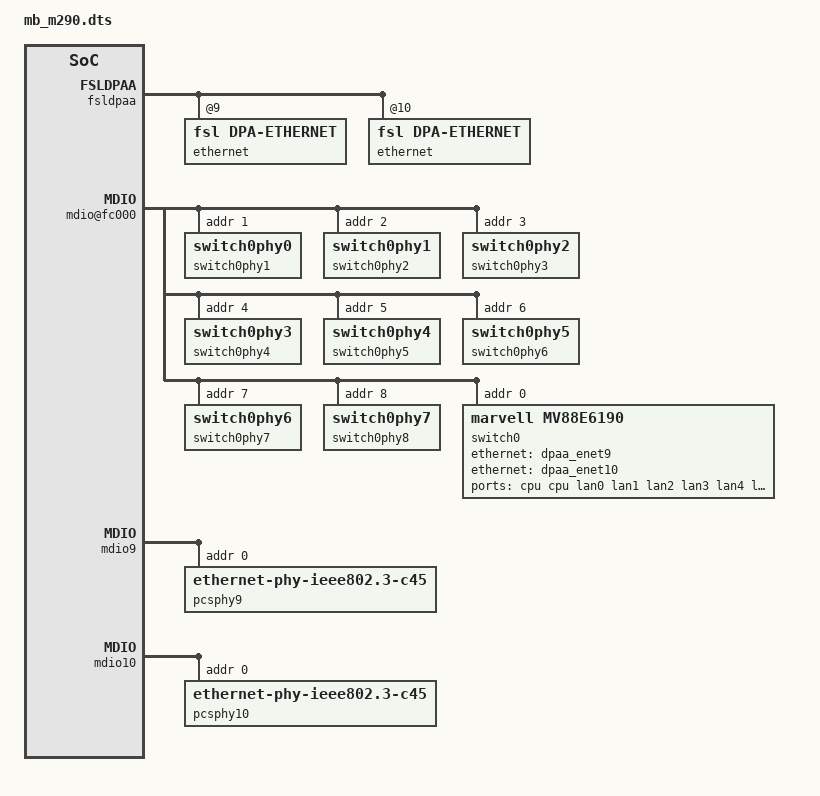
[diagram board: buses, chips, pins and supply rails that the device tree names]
/*
 * Device Tree Include file for Freescale Layerscape-1046A family SoC.
 *
 * Copyright 2014-2015 Freescale Semiconductor, Inc.
 *
 * Mingkai Hu <Mingkai.hu@freescale.com>
 *
 * This file is dual-licensed: you can use it either under the terms
 * of the GPLv2 or the X11 license, at your option. Note that this dual
 * licensing only applies to this file, and not this project as a
 * whole.
 *
 *  a) This library is free software; you can redistribute it and/or
 *     modify it under the terms of the GNU General Public License as
 *     published by the Free Software Foundation; either version 2 of the
 *     License, or (at your option) any later version.
 *
 *     This library is distributed in the hope that it will be useful,
 *     but WITHOUT ANY WARRANTY; without even the implied warranty of
 *     MERCHANTABILITY or FITNESS FOR A PARTICULAR PURPOSE.  See the
 *     GNU General Public License for more details.
 *
 * Or, alternatively,
 *
 *  b) Permission is hereby granted, free of charge, to any person
 *     obtaining a copy of this software and associated documentation
 *     files (the "Software"), to deal in the Software without
 *     restriction, including without limitation the rights to use,
 *     copy, modify, merge, publish, distribute, sublicense, and/or
 *     sell copies of the Software, and to permit persons to whom the
 *     Software is furnished to do so, subject to the following
 *     conditions:
 *
 *     The above copyright notice and this permission notice shall be
 *     included in all copies or substantial portions of the Software.
 *
 *     THE SOFTWARE IS PROVIDED "AS IS", WITHOUT WARRANTY OF ANY KIND,
 *     EXPRESS OR IMPLIED, INCLUDING BUT NOT LIMITED TO THE WARRANTIES
 *     OF MERCHANTABILITY, FITNESS FOR A PARTICULAR PURPOSE AND
 *     NONINFRINGEMENT. IN NO EVENT SHALL THE AUTHORS OR COPYRIGHT
 *     HOLDERS BE LIABLE FOR ANY CLAIM, DAMAGES OR OTHER LIABILITY,
 *     WHETHER IN AN ACTION OF CONTRACT, TORT OR OTHERWISE, ARISING
 *     FROM, OUT OF OR IN CONNECTION WITH THE SOFTWARE OR THE USE OR
 *     OTHER DEALINGS IN THE SOFTWARE.
 */

#include "fsl-ls1046a-rdb_m290.dts"
#include "qoriq-qman-portals-sdk.dtsi"
#include "qoriq-bman-portals-sdk.dtsi"

&bman_fbpr {
	compatible = "fsl,bman-fbpr";
	alloc-ranges = <0 0 0x10000 0>;
};
&qman_fqd {
	compatible = "fsl,qman-fqd";
	alloc-ranges = <0 0 0x10000 0>;
};
&qman_pfdr {
	compatible = "fsl,qman-pfdr";
	alloc-ranges = <0 0 0x10000 0>;
};

&soc {
#include "qoriq-dpaa-eth_m290.dtsi"
#include "qoriq-fman3-0-6oh.dtsi"
};

&fsldpaa {
	ethernet@0 {
		status = "disabled";
	};
	ethernet@1 {
		status = "disabled";
	};
	ethernet@2 {
		status = "disabled";
	};
	ethernet@3 {
		status = "disabled";
	};
	ethernet@4 {
		status = "disabled";
	};
	ethernet@5 {
		status = "disabled";
	};
	ethernet@6 {
		status = "disabled";
	};
	ethernet@7 {
		status = "disabled";
	};
	ethernet@9 {
		compatible = "fsl,dpa-ethernet";
		fsl,fman-mac = <&enet9>;
		dma-coherent;
	};
	ethernet@10 {
		compatible = "fsl,dpa-ethernet";
		fsl,fman-mac = <&enet10>;
		dma-coherent;
	};
};

&fman0 {
	compatible = "fsl,fman", "simple-bus";
	mdio@fc000 {
		switch0phy1: switch0phy0@1 {
			reg = <0x1>;
		};
		switch0phy2: switch0phy1@2 {
			reg = <0x2>;
		};
		switch0phy3: switch0phy2@3 {
			reg = <0x3>;
		};
		switch0phy4: switch0phy3@4 {
			reg = <0x4>;
		};
		switch0phy5: switch0phy4@5 {
			reg = <0x5>;
		};
		switch0phy6: switch0phy5@6 {
			reg = <0x6>;
		};
		switch0phy7: switch0phy6@7 {
			reg = <0x7>;
		};
		switch0phy8: switch0phy7@8 {
			reg = <0x8>;
		};

		switch0: switch0@0 {
			compatible = "marvell,mv88e6190";
			#address-cells = <1>;
			#size-cells = <0>;
			reg = <0>;
//			status = "disabled";

			ports {
				#address-cells = <1>;
				#size-cells = <0>;

				cpuport1: port@9 {
					reg = <9>;
					label = "cpu";
					ethernet = <&dpaa_enet9>;
					phy-mode = "2500base-x";
	                fixed-link {
	                    speed = <1000>;
	                    full-duplex;
	                };
				};

				cpuport2: port@10 {
					reg = <10>;
					label = "cpu";
					ethernet = <&dpaa_enet10>;
					phy-mode = "2500base-x";
	                fixed-link {
	                    speed = <1000>;
	                    full-duplex;
	                };
				};

				port@0 {
					reg = <0>;
					label = "lan0";
					status = "disabled";
				};

				port@1 {
					reg = <1>;
					label = "lan1";
					cpu = <&cpuport1>;
				};

				port@2 {
					reg = <2>;
					label = "lan2";
					cpu = <&cpuport1>;
				};

				port@3 {
					reg = <3>;
					label = "lan3";
					cpu = <&cpuport1>;
				};
				port@4 {
					reg = <4>;
					label = "lan4";
					cpu = <&cpuport1>;
				};
				port@5 {
					reg = <5>;
					label = "lan5";
					cpu = <&cpuport2>;
				};

				port@6 {
					reg = <6>;
					label = "lan6";
					cpu = <&cpuport2>;
				};
				port@7 {
					reg = <7>;
					label = "lan7";
					cpu = <&cpuport2>;
				};

				port@8 {
					reg = <8>;
					label = "lan8";
					cpu = <&cpuport2>;
				};
			};
		};
	};
};

&mdio9 {
	pcsphy9: ethernet-phy@0 {
		backplane-mode = "10gbase-kr";
		compatible = "ethernet-phy-ieee802.3-c45";
		reg = <0x0>;
		fsl,lane-handle = <&serdes1>;
		fsl,lane-reg = <0x8C0 0x40>;   /* lane D */
	};
};

&mdio10 {
	pcsphy10: ethernet-phy@0 {
		backplane-mode = "10gbase-kr";
		compatible = "ethernet-phy-ieee802.3-c45";
		reg = <0x0>;
		fsl,lane-handle = <&serdes1>;
		fsl,lane-reg = <0x880 0x40>;   /* lane C */
	};
};

/* Update MAC connections to backplane PHYs
 * &mac9 {
 *	phy-handle = <&pcsphy6>;
 *};
 *
 *&mac10 {
 *	phy-handle = <&pcsphy7>;
 *};
*/
